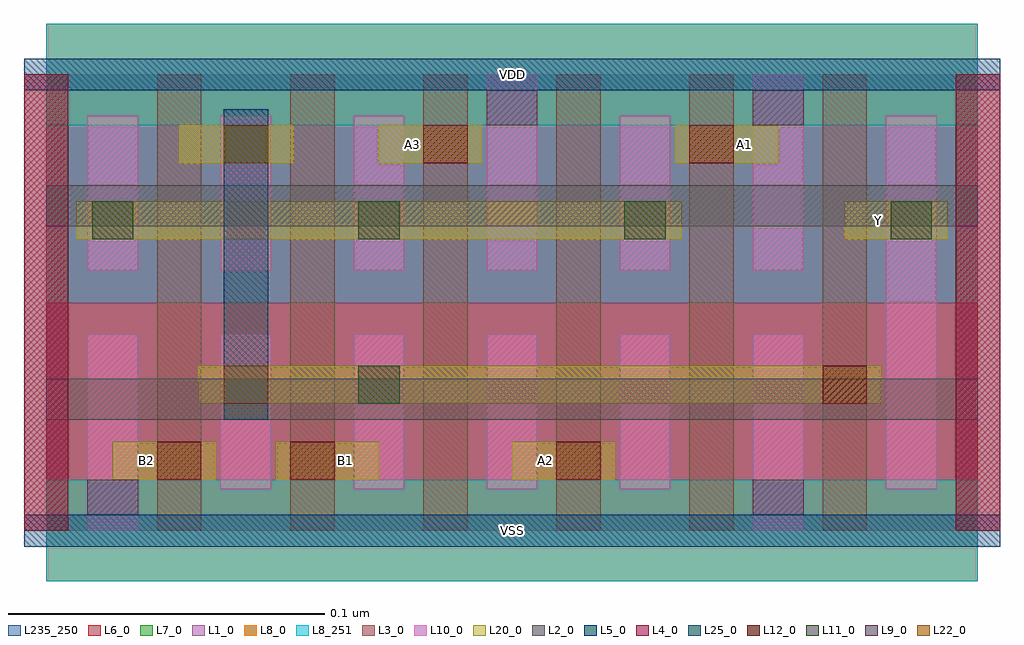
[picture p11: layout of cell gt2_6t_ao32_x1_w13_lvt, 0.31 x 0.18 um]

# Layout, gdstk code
import gdstk
lib = gdstk.Library(unit=1e-6, precision=5e-10)
def R(c, l, rs):  # rectangles x0, y0, x1, y1
    for r in rs: c.add(gdstk.rectangle(r[:2], r[2:], *l))
def A(c, l, x, y, w, h, nx, ny, dx, dy):  # array of equal rectangles
    R(c, l, [(x+i*dx, y+j*dy, x+i*dx+w, y+j*dy+h) for i in range(nx) for j in range(ny)])
L1_0 = (1, 0)
L2_0 = (2, 0)
L3_0 = (3, 0)
L4_0 = (4, 0)
L5_0 = (5, 0)
L6_0 = (6, 0)
L7_0 = (7, 0)
L8_0 = (8, 0)
L8_251 = (8, 251)
L9_0 = (9, 0)
L10_0 = (10, 0)
L11_0 = (11, 0)
L12_0 = (12, 0)
L20_0 = (20, 0)
L22_0 = (22, 0)
L25_0 = (25, 0)
L235_250 = (235, 250)

gt2_6t_ao32_x1_w13_lvt = lib.new_cell('gt2_6t_ao32_x1_w13_lvt')
R(gt2_6t_ao32_x1_w13_lvt, L1_0, [(0,0.072,0.294,0.144)])
R(gt2_6t_ao32_x1_w13_lvt, L2_0, [(0,0.035,0.294,0.048), (0,0.096,0.294,0.109)])
A(gt2_6t_ao32_x1_w13_lvt, L3_0, -0.007, 0, 0.014, 0.144, 8, 1, 0.042, 0)
R(gt2_6t_ao32_x1_w13_lvt, L4_0, [(-0.007,0,0.007,0.144), (0.287,0,0.301,0.144)])
R(gt2_6t_ao32_x1_w13_lvt, L5_0, [(-0.007,-0.005,0.301,0.005), (-0.007,0.139,0.301,0.149)])
R(gt2_6t_ao32_x1_w13_lvt, L6_0, [(0,0,0.294,0.072)])
R(gt2_6t_ao32_x1_w13_lvt, L7_0, [(0,0.072,0.294,0.144)])
R(gt2_6t_ao32_x1_w13_lvt, L8_0, [(0,-0.016,0.294,0.016), (0,0.128,0.294,0.16)])
R(gt2_6t_ao32_x1_w13_lvt, L8_251, [(0,-0.016,0.294,0.016), (0,0.128,0.294,0.16)])
R(gt2_6t_ao32_x1_w13_lvt, L9_0, [(0.013,0.005,0.029,0.016), (0.223,0.005,0.239,0.016), (0.139,0.128,0.155,0.139), (0.223,0.128,0.239,0.139)])
A(gt2_6t_ao32_x1_w13_lvt, L10_0, 0.055, 0.013, 0.016, 0.049, 4, 1, 0.042, 0)
A(gt2_6t_ao32_x1_w13_lvt, L10_0, 0.013, 0.082, 0.016, 0.049, 3, 1, 0.042, 0)
R(gt2_6t_ao32_x1_w13_lvt, L10_0, [(0.013,0,0.029,0.062), (0.223,0,0.239,0.062), (0.265,0.013,0.281,0.131), (0.139,0.082,0.155,0.144), (0.181,0.082,0.197,0.131), (0.223,0.082,0.239,0.144)])
A(gt2_6t_ao32_x1_w13_lvt, L11_0, 0.0145, 0.092, 0.013, 0.012, 4, 1, 0.084, 0)
R(gt2_6t_ao32_x1_w13_lvt, L11_0, [(0.0985,0.04,0.1115,0.052), (0.0565,0.116,0.0695,0.128)])
R(gt2_6t_ao32_x1_w13_lvt, L12_0, [(0.035,0.016,0.049,0.028), (0.077,0.016,0.091,0.028), (0.161,0.016,0.175,0.028), (0.245,0.04,0.259,0.052), (0.119,0.116,0.133,0.128), (0.203,0.116,0.217,0.128)])
R(gt2_6t_ao32_x1_w13_lvt, L20_0, [(0.021,0.016,0.0535,0.028), (0.0725,0.016,0.105,0.028), (0.147,0.016,0.1795,0.028), (0.048,0.04,0.2635,0.052), (0.0095,0.092,0.2005,0.104), (0.252,0.092,0.2845,0.104), (0.042,0.116,0.078,0.128), (0.105,0.116,0.1375,0.128), (0.1985,0.116,0.231,0.128)])
R(gt2_6t_ao32_x1_w13_lvt, L22_0, [(0.056,0.04,0.07,0.052), (0.056,0.116,0.07,0.128)])
R(gt2_6t_ao32_x1_w13_lvt, L25_0, [(0.056,0.035,0.07,0.133)])
R(gt2_6t_ao32_x1_w13_lvt, L235_250, [(0,0,0.294,0.144)])
gt2_6t_ao32_x1_w13_lvt.add(gdstk.Label('VSS', (0.147,0), layer=8, texttype=251))
gt2_6t_ao32_x1_w13_lvt.add(gdstk.Label('VDD', (0.147,0.144), layer=8, texttype=251))
gt2_6t_ao32_x1_w13_lvt.add(gdstk.Label('A3', (0.1155,0.122), layer=20, texttype=251))
gt2_6t_ao32_x1_w13_lvt.add(gdstk.Label('B1', (0.0945,0.022), layer=20, texttype=251))
gt2_6t_ao32_x1_w13_lvt.add(gdstk.Label('A1', (0.2205,0.122), layer=20, texttype=251))
gt2_6t_ao32_x1_w13_lvt.add(gdstk.Label('Y', (0.2625,0.098), layer=20, texttype=251))
gt2_6t_ao32_x1_w13_lvt.add(gdstk.Label('B2', (0.0315,0.022), layer=20, texttype=251))
gt2_6t_ao32_x1_w13_lvt.add(gdstk.Label('A2', (0.1575,0.022), layer=20, texttype=251))

lib.write_gds('gt2_6t_ao32_x1_w13_lvt.gds')
